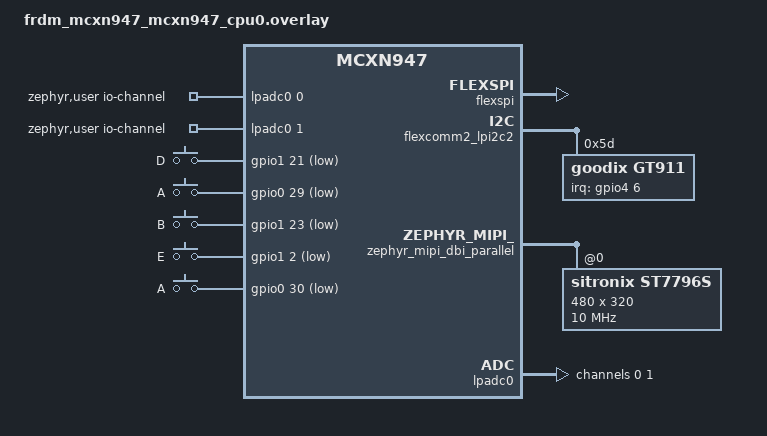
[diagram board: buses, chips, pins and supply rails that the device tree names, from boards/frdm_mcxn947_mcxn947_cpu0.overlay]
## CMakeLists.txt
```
# Copyright 2024 NXP
# SPDX-License-Identifier: gpl-2.0-only

cmake_minimum_required(VERSION 3.20.0)

find_package(Zephyr REQUIRED HINTS $ENV{ZEPHYR_BASE})
project(app LANGUAGES C)

set(PRBOOM_FILES
    prboom2/src/am_map.c
    prboom2/src/d_client.c
    prboom2/src/d_items.c
    prboom2/src/d_main.c
    prboom2/src/doom_iwad.c
    prboom2/src/f_finale.c
    prboom2/src/f_wipe.c
    prboom2/src/g_game.c
    prboom2/src/global_data.c
    prboom2/src/hu_lib.c
    prboom2/src/hu_stuff.c
    prboom2/src/i_audio.c
    prboom2/src/i_main.c
    prboom2/src/info.c
    prboom2/src/i_system.c
    prboom2/src/i_video.c
    prboom2/src/lprintf.c
    prboom2/src/m_bbox.c
    prboom2/src/m_cheat.c
    prboom2/src/m_menu.c
    prboom2/src/m_random.c
    prboom2/src/p_ceilng.c
    prboom2/src/p_doors.c
    prboom2/src/p_enemy.c
    prboom2/src/p_floor.c
    prboom2/src/p_genlin.c
    prboom2/src/p_inter.c
    prboom2/src/p_lights.c
    prboom2/src/p_map.c
    prboom2/src/p_maputl.c
    prboom2/src/p_mobj.c
    prboom2/src/p_plats.c
    prboom2/src/p_pspr.c
    prboom2/src/p_setup.c
    prboom2/src/p_sight.c
    prboom2/src/p_spec.c
    prboom2/src/p_switch.c
    prboom2/src/p_telept.c
    prboom2/src/p_tick.c
    prboom2/src/p_user.c
    prboom2/src/r_data.c
    prboom2/src/r_draw.c
    prboom2/src/r_hotpath.iwram.c
    prboom2/src/r_main.c
    prboom2/src/r_patch.c
    prboom2/src/r_plane.c
    prboom2/src/r_things.c
    prboom2/src/sounds.c
    prboom2/src/s_sound.c
    prboom2/src/st_gfx.c
    prboom2/src/st_lib.c
    prboom2/src/st_stuff.c
    prboom2/src/tables.c
    prboom2/src/version.c
    prboom2/src/v_video.c
    prboom2/src/wi_stuff.c
    prboom2/src/w_wad.c
    prboom2/src/z_bmalloc.c
    prboom2/src/z_zone.c
)

if(CONFIG_DOOM_FIXED_RECIPROCAL_LUT)
list(APPEND PRBOOM_FILES prboom2/src/m_recip.c)
endif()


if(CONFIG_DOOM_SHOW_NXP_LOGO)
list(APPEND PRBOOM_FILES src/nxp_80x32.c)
endif()

target_include_directories(app PUBLIC prboom2/src)
target_include_directories(app PUBLIC src)

target_sources(app PRIVATE ${PRBOOM_FILES} src/i_system_zephyr.c)
```

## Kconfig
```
# Copyright 2024 NXP
# SPDX-License-Identifier: gpl-2.0-only

mainmenu "Doom"

menu "Zephyr"

source "Kconfig.zephyr"

endmenu

menu "Doom"

config DOOM_X_RES
	int "Doom X resolution"
	default 320

config DOOM_Y_RES
	int "Doom Y resolution"
	default 240

config DOOM_ZONE_HEAP_SIZE
    int "Heap size (kB)"
	default 256

config DOOM_FIXED_RECIPROCAL_LUT
	bool "Use LUT for FixedReciprocal"
	default y
	help
	  On microarchitectures without a hardware divider such as Cortex-m0
	  calculating the reciprocal is compute intensive. This method uses
	  a lookup table (256kB) to approximate it.

config DOOM_CALC_TAN_TABLE
	bool "Calculate finetangent at startup"
	default n
	help
	  Instead of storing the LUT in flash we calculate the tan table at startup
	  This saves a bit of flash at the cost of ram and startup time

config DOOM_CALC_SIN_TABLE
	bool "Calculate finesine at startup"
	default n
	help
	  Instead of storing the LUT in flash we calculate the sine table at startup
	  This saves a bit of flash at the cost of ram and startup time

config DOOM_CALC_YSLOPE
	bool "Calculate yslope at startup"
	default y
	help
	  Instead of storing the LUT in flash we calculate the sine table at startup
	  This saves a bit of flash at the cost of ram and startup time.
	  Yslope needs to be manually generated for each resolution.

config DOOM_CALC_DISTSCALE
	bool "Calculate distcale at startup"
	default y
	help
	  Instead of storing the LUT in flash we calculate the sine table at startup
	  This saves a bit of flash at the cost of ram and startup time.
	  Distcale needs to be manually generated for each resolution.

config DOOM_CALC_XTOVIEWANGLE
	bool "Calculate xtoviewangle at startup"
	default y
	help
	  Instead of storing the LUT in flash we calculate the sine table at startup
	  This saves a bit of flash at the cost of ram and startup time.
	  Xtoviewangle needs to be manually generated for each resolution.

config DOOM_CALC_VIEWANGLETOX
	bool "Calculate viewangletox at startup"
	default y
	help
	  Instead of storing the LUT in flash we calculate the sine table at startup
	  This saves a bit of flash at the cost of ram and startup time.
	  Viewangletox needs to be manually generated for each resolution.


config DOOM_NO_WIPE
	bool "Disable Screen wipe"
	default n
	help
	  Disables screen wipe effect saves on ram since we don't have to allocate the
	  frontbuffer anymore

config DOOM_PRINT_MEMSTAT
	bool "Print memory statistics to console"
	default n

choice DOOM_PIXEL_FORMAT
	prompt "Color pixel format"
	default DOOM_BGR565
	help
	  Specify the color pixel format for the DOOM output frame.

config DOOM_RGB888
	bool "RGB888"

config DOOM_RGB565
	bool "RGB565"

config DOOM_BGR565
	bool "BGR565"
endchoice

config DOOM_HIGHDETAIL
	bool "High detail mode"
	default n

config DOOM_FPS_AMMO
	bool "Use ammo counter as FPS counter"
	default n

config DOOM_ZEPHYR_BACKGROUND
	bool "Show Zephyr logo when hud extends 240 pixels"
	default n

config DOOM_SHOW_NXP_LOGO
	bool "On startup clear framebuffer with NXP logo pattern"
	default n

config DOOM_ZEPHYR_ADC_JOYSTICK
	bool "Use ADC for joystick input"
	select ADC
	default n

config DOOM_ZEPHYR_TOUCH_SCREEN
	bool "Use Touch screen for input"
	default n

if DOOM_ZEPHYR_TOUCH_SCREEN

# Touchscreen can use different coordinate systems
# Ideally this should be corrected in the touchscreen driver or input subsys

config DOOM_ZEPHYR_TOUCH_SCREEN_SWAP_XY
	bool "Touchscreen swap x/y coordinates"
	default n

config DOOM_ZEPHYR_TOUCH_SCREEN_INVERT_X
	bool "Touchscreen invert X coordinates"
	default n
endif
	  
config DOOM_FB_DTCM
	bool "Place Framebuffer in DTCM memory"
	depends on ARM


endmenu
```

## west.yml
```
# Copyright 2024 NXP
# SPDX-License-Identifier: gpl-2.0-only

manifest:

  group-filter:
    - +optional

  self:
    west-commands: scripts/west-commands.yml

  remotes:
    - name: zephyrproject-rtos
      url-base: https://github.com/zephyrproject-rtos

  projects:
    - name: zephyr
      remote: zephyrproject-rtos
      revision: 7823374e872145b5bd018bfe447839eb36042611 # zephyr v4.1.0
      import:
        - name-allowlist:
          - hal_nxp
          - cmsis
          - segger
```

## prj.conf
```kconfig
# Copyright 2024 NXP
# SPDX-License-Identifier: gpl-2.0-only

CONFIG_HEAP_MEM_POOL_SIZE=262144
CONFIG_DISPLAY=y
CONFIG_INPUT=y
CONFIG_GPIO=y
CONFIG_STDOUT_CONSOLE=y
CONFIG_SPEED_OPTIMIZATIONS=y
CONFIG_BUILD_OUTPUT_BIN=n
CONFIG_BUILD_NO_GAP_FILL=y
```

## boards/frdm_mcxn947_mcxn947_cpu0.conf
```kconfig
# Copyright 2024 NXP
# SPDX-License-Identifier: gpl-2.0-only

CONFIG_POSIX_API=y
CONFIG_PICOLIBC=y
CONFIG_COMMON_LIBC_MALLOC=y

CONFIG_HEAP_MEM_POOL_SIZE=1024
CONFIG_MAIN_STACK_SIZE=8192
CONFIG_DOOM_FIXED_RECIPROCAL_LUT=n
CONFIG_DOOM_ZONE_HEAP_SIZE=194
CONFIG_DOOM_NO_WIPE=y

CONFIG_DOOM_X_RES=400
CONFIG_DOOM_Y_RES=320
CONFIG_DEBUG_OPTIMIZATIONS=y
CONFIG_DOOM_BGR565=y

CONFIG_DOOM_ZEPHYR_ADC_JOYSTICK=y
CONFIG_DOOM_ZEPHYR_TOUCH_SCREEN=y
CONFIG_DOOM_ZEPHYR_BACKGROUND=y
CONFIG_DOOM_SHOW_NXP_LOGO=y

CONFIG_FLASH=y

CONFIG_DISPLAY=y

CONFIG_FPU=y

CONFIG_BUILD_OUTPUT_HEX=y

CONFIG_HAVE_CUSTOM_LINKER_SCRIPT=y
CONFIG_CUSTOM_LINKER_SCRIPT="boards/frdm_mcxn947.ld"
```

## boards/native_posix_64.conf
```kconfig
# Copyright 2024 NXP
# SPDX-License-Identifier: gpl-2.0-only

CONFIG_DOOM_X_RES=640
CONFIG_DOOM_Y_RES=360
CONFIG_DOOM_ZONE_HEAP_SIZE=4096
# CONFIG_DOOM_FIXED_RECIPROCAL_LUT is not set
CONFIG_DOOM_CALC_TAN_TABLE=y
CONFIG_DOOM_CALC_SIN_TABLE=y
# CONFIG_DOOM_NO_WIPE is not set
CONFIG_LOG=y
CONFIG_DOOM_PRINT_MEMSTAT=y
# CONFIG_DOOM_RGB888 is not set
CONFIG_DOOM_RGB565=y
# CONFIG_DOOM_BGR565 is not set
# CONFIG_DOOM_HIGHDETAIL is not set
# CONFIG_DOOM_FPS_AMMO is not set
CONFIG_DOOM_ZEPHYR_BACKGROUND=y
# CONFIG_DOOM_ZEPHYR_ADC_JOYSTICK is not set
CONFIG_DOOM_ZEPHYR_TOUCH_SCREEN=y
CONFIG_DOOM_ZEPHYR_TOUCH_SCREEN_SWAP_XY=y
CONFIG_DOOM_ZEPHYR_TOUCH_SCREEN_INVERT_X=y
CONFIG_SDL_DISPLAY_USE_HARDWARE_ACCELERATOR=n
CONFIG_SDL_DISPLAY_ZOOM_PCT=200
```

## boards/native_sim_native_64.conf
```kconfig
# Copyright 2024 NXP
# SPDX-License-Identifier: gpl-2.0-only

CONFIG_DOOM_X_RES=640
CONFIG_DOOM_Y_RES=360
CONFIG_DOOM_ZONE_HEAP_SIZE=4096
# CONFIG_DOOM_FIXED_RECIPROCAL_LUT is not set
CONFIG_DOOM_CALC_TAN_TABLE=y
CONFIG_DOOM_CALC_SIN_TABLE=y
# CONFIG_DOOM_NO_WIPE is not set
CONFIG_LOG=y
CONFIG_DOOM_PRINT_MEMSTAT=y
# CONFIG_DOOM_RGB888 is not set
CONFIG_DOOM_RGB565=y
# CONFIG_DOOM_BGR565 is not set
# CONFIG_DOOM_HIGHDETAIL is not set
# CONFIG_DOOM_FPS_AMMO is not set
CONFIG_DOOM_ZEPHYR_BACKGROUND=y
# CONFIG_DOOM_ZEPHYR_ADC_JOYSTICK is not set
CONFIG_DOOM_ZEPHYR_TOUCH_SCREEN=y
CONFIG_DOOM_ZEPHYR_TOUCH_SCREEN_SWAP_XY=y
CONFIG_DOOM_ZEPHYR_TOUCH_SCREEN_INVERT_X=y
CONFIG_SDL_DISPLAY_USE_HARDWARE_ACCELERATOR=n
CONFIG_SDL_DISPLAY_ZOOM_PCT=200
CONFIG_DEBUG_OPTIMIZATIONS=y
```

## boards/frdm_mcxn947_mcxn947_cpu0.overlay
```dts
/*
 * Copyright 2024 NXP
 *
 * SPDX-License-Identifier: gpl-2.0-only
 */
 
#include <nxp/mcx/MCXN947VDF-pinctrl.h>
#include <dt-bindings/gpio/gpio.h>
#include <zephyr/dt-bindings/input/input-event-codes.h>
#include <zephyr/dt-bindings/adc/adc.h>
#include <zephyr/dt-bindings/adc/mcux-lpadc.h>
#include <zephyr/dt-bindings/mipi_dbi/mipi_dbi.h>
#include <zephyr/dt-bindings/regulator/nxp_vref.h>

/ {

	chosen {
		zephyr,display = &st7796s;
	};

	aliases {
		enter = &key_space;
		map = &key_map;
		menu = &key_menu;
		fire = &key_fire;
		toggle = &key_toggle;
		touch-screen = &gt911;
	};
	
	zephyr,user {
		/* adjust channel number according to pinmux in board.dts */
		io-channels = <&lpadc0 0>, <&lpadc0 1>;
	};
	/* gpio0 28 is joystick click */



	adc_joystick: analog_axis {
		compatible = "analog-axis";
        poll-period-ms = <15>;
		axis-x {
			io-channels = <&lpadc0 0>;
			in-deadzone = <256>;
			in-min = <0>;
			in-max = <4096>;
			out-min = <(-1)>;
			out-max = <1>;
			zephyr,axis = <INPUT_ABS_X>;
		};
		axis-y {
			io-channels = <&lpadc0 1>;
			in-deadzone = <256>;
			in-min = <0>;
			in-max = <4096>;
			out-min = <(-1)>;
			out-max = <1>;
			zephyr,axis = <INPUT_ABS_Y>;
		};
	};

	gpio_keys {
		compatible = "gpio-keys";

		key_fire: key_fire {
			label = "D";
			gpios = <&gpio1 21 (GPIO_PULL_UP | GPIO_ACTIVE_LOW)>; /* PTE0 */
			zephyr,code = <INPUT_KEY_TAB>;
		};
		
		key_menu: key_menu {
			label = "A";
			gpios = <&gpio0 29 (GPIO_PULL_UP | GPIO_ACTIVE_LOW)>; /* p0_29 */
			zephyr,code = <INPUT_KEY_TAB>;
		};

		
		key_toggle: key_toggle {
			label = "B";
			gpios = <&gpio1 23 (GPIO_PULL_UP | GPIO_ACTIVE_LOW)>; /* PTE22 */
			zephyr,code = <INPUT_KEY_LEFTALT>;
		};
		
		key_map: key_map {
			label = "E";
			gpios = <&gpio1 2 (GPIO_PULL_UP | GPIO_ACTIVE_LOW)>; /* 1_2 */
			zephyr,code = <INPUT_KEY_LEFTALT>;
		};
		
		key_space: key_space {
			label = "A";
			gpios = <&gpio0 30 (GPIO_PULL_UP | GPIO_ACTIVE_LOW)>; /* 1_21 -> C funduino */
			zephyr,code = <INPUT_KEY_SPACE>;
		};
	};

};

&flexspi {
	status = "okay";
};

&flexcomm2_lpi2c2 {
	status = "okay";
	gt911: gt911@5d {
		compatible = "goodix,gt911";
		reg = <0x5d>;
		alt-addr = <0x14>;
		irq-gpios = <&gpio4 6 GPIO_ACTIVE_HIGH>;
	};
};

&zephyr_mipi_dbi_parallel {
	status = "okay";
	#address-cells = <1>;
	#size-cells = <0>;
	st7796s: st7796s@0 {
		compatible = "sitronix,st7796s";
		reg = <0>;
		/* Baud rate on each pin is 1MHz */
		mipi-max-frequency = <10000000>;
		mipi-mode = "MIPI_DBI_MODE_8080_BUS_16_BIT";
		height = <320>;
		width = <480>;
		invert-mode = "1-dot";
		frmctl1 = [80 10];
		bpc = [1F 50 00 20];
		dfc = [8A 07 3B];
		pwr1 = [80 64];
		pwr2 = <0x13>;
		pwr3 = <0xA7>;
		vcmpctl = <0x09>;
		doca = [40 8A 00 00 29 19 A5 33];
		pgc = [F0 06 0B 07 06 05 2E 33 47 3A 17 16 2E 31];
		ngc = [F0 09 0D 09 08 23 2E 33 46 38 13 13 2C 32];
		madctl = <0x28>;
		color-invert;
	};
};

&sram0 {
 	compatible = "mmio-sram";
	reg = <0x20000000 DT_SIZE_K(416)>;
};

&vref {
	regulator-initial-mode = <NXP_VREF_MODE_INTERNAL_REGULATOR>;
};

&lpadc0 {
	#address-cells = <1>;
	#size-cells = <0>;

	voltage-ref= <2>;

	/*
	 * - Connect LPADC0 CH1A signal to voltage between 0~3.3V (J8 pin 14)
	 * - Connect LPADC0 CH1B signal to voltage between 0~3.3V (J8 pin 24)
	 */

	channel@0 {
		reg = <0>;
		zephyr,gain = "ADC_GAIN_1";
		zephyr,reference = "ADC_REF_EXTERNAL0";
		zephyr,vref-mv = <3300>;
		zephyr,acquisition-time = <ADC_ACQ_TIME_DEFAULT>;
		zephyr,resolution = <12>;
		zephyr,input-positive = <MCUX_LPADC_CH0A>;
	};

	channel@1 {
		reg = <1>;
		zephyr,gain = "ADC_GAIN_1";
		zephyr,reference = "ADC_REF_EXTERNAL0";
		zephyr,vref-mv = <3300>;
		zephyr,acquisition-time = <ADC_ACQ_TIME_DEFAULT>;
		zephyr,resolution = <12>;
		zephyr,input-positive = <MCUX_LPADC_CH0B>;
	};
};
```

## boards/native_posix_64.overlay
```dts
/*
 * Copyright 2024 NXP
 *
 * SPDX-License-Identifier: gpl-2.0-only
 */

 #include <zephyr/dt-bindings/input/input-event-codes.h>

 / {
	aliases {
		right = &key_right;
		left = &key_left;
		down = &key_down;
		up = &key_up;
		fire = &key_ctrl;
		enter = &key_space;
		strafe = &key_alt;
		run = &key_shift;
		menu = &key_esc;
		weapontoggle = &key_tab;
		touch-screen = &input_sdl_touch;
	};

  gpio_keys {
	compatible = "gpio-keys";
	key_right: key_right {
	  gpios = <&gpio0 0 GPIO_ACTIVE_HIGH>;
	  zephyr,code = <INPUT_KEY_RIGHT>;
	};
	key_left: key_left {
	  gpios = <&gpio0 1 GPIO_ACTIVE_HIGH>;
	  zephyr,code = <INPUT_KEY_LEFT>;
	};
	key_down: key_down {
	  gpios = <&gpio0 2 GPIO_ACTIVE_HIGH>;
	  zephyr,code = <INPUT_KEY_DOWN>;
	};
	key_up: key_up {
	  gpios = <&gpio0 3 GPIO_ACTIVE_HIGH>;
	  zephyr,code = <INPUT_KEY_UP>;
	};
	key_ctrl: key_ctrl {
	  gpios = <&gpio0 4 GPIO_ACTIVE_HIGH>;
	  zephyr,code = <INPUT_KEY_LEFTCTRL>;
	};
	key_space: key_space {
	  gpios = <&gpio0 5 GPIO_ACTIVE_HIGH>;
	  zephyr,code = <INPUT_KEY_SPACE>;
	};
	key_alt: key_alt {
	  gpios = <&gpio0 6 GPIO_ACTIVE_HIGH>;
	  zephyr,code = <INPUT_KEY_LEFTALT>;
	};
	key_shift: key_shift {
	  gpios = <&gpio0 7 GPIO_ACTIVE_HIGH>;
	  zephyr,code = <INPUT_KEY_LEFTSHIFT>;
	};
	key_esc: key_esc {
	  gpios = <&gpio0 8 GPIO_ACTIVE_HIGH>;
	  zephyr,code = <INPUT_KEY_ESC>;
	};
	key_tab: key_tab {
	  gpios = <&gpio0 9 GPIO_ACTIVE_HIGH>;
	  zephyr,code = <INPUT_KEY_TAB>;
	};
  };
  
  };

/* gpio0 has to be a zephyr,gpio-emul device */
&gpio0 {
	ngpios = <10>;

	sdl_gpio {
		compatible = "zephyr,gpio-emul-sdl";
		scancodes = <79 80 81 82 224 44 226 225 41 43>;
	};
};

&sdl_dc {
	width = <640>;
	height = <360>;
};
```

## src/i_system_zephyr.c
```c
/* Emacs style mode select   -*- C++ -*-
 *-----------------------------------------------------------------------------
 *
 *
 *  PrBoom: a Doom port merged with LxDoom and LSDLDoom
 *  based on BOOM, a modified and improved DOOM engine
 *  Copyright 2024 NXP
 *
 *  This program is free software; you can redistribute it and/or
 *  modify it under the terms of the GNU General Public License
 *  as published by the Free Software Foundation; either version 2
 *  of the License, or (at your option) any later version.
 *
 *  This program is distributed in the hope that it will be useful,
 *  but WITHOUT ANY WARRANTY; without even the implied warranty of
 *  MERCHANTABILITY or FITNESS FOR A PARTICULAR PURPOSE.  See the
 *  GNU General Public License for more details.
 *
 *  You should have received a copy of the GNU General Public License
 *  along with this program; if not, write to the Free Software
 *  Foundation, Inc., 59 Temple Place - Suite 330, Boston, MA
 *  02111-1307, USA.
 *
 *-----------------------------------------------------------------------------
 */

#include <math.h>
#include <stdarg.h>
#include <stdio.h>

#ifndef M_PI
#define M_PI 3.14159265358979323846
#endif

#include "d_event.h"
#include "d_main.h"
#include "g_game.h"
#include "i_system_zephyr.h"

#include "doomdef.h"
#include "lprintf.h"

#include <zephyr/logging/log.h>
LOG_MODULE_REGISTER(sample, LOG_LEVEL_INF);
#include <zephyr/device.h>
#include <zephyr/devicetree.h>
#include <zephyr/drivers/adc.h>
#include <zephyr/drivers/display.h>
#include <zephyr/drivers/gpio.h>
#include <zephyr/input/input.h>
#include <zephyr/kernel.h>

#ifdef CONFIG_DOOM_SHOW_NXP_LOGO
#include "nxp_80x32.h"
#endif

#define RIGHT_NODE DT_ALIAS(right)
#define LEFT_NODE DT_ALIAS(left)
#define DOWN_NODE DT_ALIAS(down)
#define UP_NODE DT_ALIAS(up)
#define FIRE_NODE DT_ALIAS(fire)
#define ENTER_NODE DT_ALIAS(enter)
#define MENU_NODE DT_ALIAS(menu)
#define WEAPONTOGGLE_NODE DT_ALIAS(weapontoggle)
#define STRAFE_NODE DT_ALIAS(strafe)
#define RUN_NODE DT_ALIAS(run)
#define MAP_NODE DT_ALIAS(map)
#define TOGGLE_NODE DT_ALIAS(toggle)

#define DISPLAY_NODE DT_CHOSEN(zephyr_display)

#define STACKSIZE 2000
struct k_thread display_thread;
K_THREAD_STACK_DEFINE(display_stack, STACKSIZE);
struct display_capabilities d_capabilities;
struct k_sem sem_display;
struct k_sem sem_renderer;

//**************************************************************************************

struct key_mapping {
  struct gpio_dt_spec node;
  const int *key;
  evtype_t eventstate;
};

struct key_mapping keymap[] = {
#ifndef CONFIG_DOOM_ZEPHYR_ADC_JOYSTICK
    {GPIO_DT_SPEC_GET_OR(UP_NODE, gpios, {0}), &key_up, ev_keyup},
    {GPIO_DT_SPEC_GET_OR(DOWN_NODE, gpios, {0}), &key_down, ev_keyup},
    {GPIO_DT_SPEC_GET_OR(LEFT_NODE, gpios, {0}), &key_left, ev_keyup},
    {GPIO_DT_SPEC_GET_OR(RIGHT_NODE, gpios, {0}), &key_right, ev_keyup},
#endif
    {GPIO_DT_SPEC_GET_OR(FIRE_NODE, gpios, {0}), &key_fire, ev_keyup},
    {GPIO_DT_SPEC_GET_OR(ENTER_NODE, gpios, {0}), &key_enter, ev_keyup},
    {GPIO_DT_SPEC_GET_OR(ENTER_NODE, gpios, {0}), &key_use, ev_keyup},
    {GPIO_DT_SPEC_GET_OR(MENU_NODE, gpios, {0}), &key_escape, ev_keyup},
    {GPIO_DT_SPEC_GET_OR(RUN_NODE, gpios, {0}), &key_speed, ev_keyup},
    {GPIO_DT_SPEC_GET_OR(MAP_NODE, gpios, {0}), &key_map, ev_keyup},
    {GPIO_DT_SPEC_GET_OR(TOGGLE_NODE, gpios, {0}), &key_toggle, ev_keyup},
};

#define KEYMAP_SIZE (sizeof(keymap) / sizeof(keymap[0]))

#ifdef CONFIG_DOOM_ZEPHYR_ADC_JOYSTICK
static const struct device *const adc_joy_dev =
    DEVICE_DT_GET(DT_NODELABEL(adc_joystick));
#endif
#ifdef CONFIG_DOOM_ZEPHYR_TOUCH_SCREEN
static const struct device *const touch_screen_dev =
    DEVICE_DT_GET(DT_ALIAS(touch_screen));
#endif

bool x_l_pressed = false;
bool x_r_pressed = false;
bool x_center = false;

bool y_u_pressed = false;
bool y_d_pressed = false;
bool y_center = false;
bool action_pressed = false;
bool action_fire = false;

// TOD IFDEF TOUCH
uint16_t touch_initial_x = 0;
uint16_t touch_initial_y = 0;

uint16_t touch_x = 0;
uint16_t touch_y = 0;
bool touch_btn = false;
bool touch_released = true;

unsigned int vid_width = 0;
unsigned int vid_height = 0;

FAST_DATA_RAM unsigned short
    backbuffer[(SCREENWIDTH * SCREENHEIGHT) + CONFIG_DOOM_X_RES];

#ifndef CONFIG_DOOM_NO_WIPE
FAST_DATA_RAM unsigned short frontbuffer[SCREENWIDTH * SCREENHEIGHT];
#endif

#if defined(CONFIG_DOOM_RGB565) || defined(CONFIG_DOOM_BGR565)
static uint16_t pl_565[256];
const byte *pl_game = (byte *)pl_565;
#else
const byte *pl_game;
#endif

const struct device *display_dev;

//**************************************************************************************

void I_uSleep(unsigned long usecs) { k_sleep(K_USEC(usecs)); }

//**************************************************************************************

void Z_DisplayThreadEntry(void) {
  struct display_buffer_descriptor buf_desc;

  buf_desc.buf_size = CONFIG_DOOM_X_RES * CONFIG_DOOM_Y_RES;
  buf_desc.pitch = CONFIG_DOOM_X_RES;
  buf_desc.width = CONFIG_DOOM_X_RES;
  buf_desc.height = 1;

  int i, j;

  uint16_t *framebuffer = (uint16_t *)&backbuffer[0];
  unsigned char *frame;

  while (1) {
    k_sem_take(&sem_renderer, K_FOREVER);
    frame = (char *)I_GetBackBuffer();
    int lineheight;
    int y_offset = 0;

    /* Re-use Backbuffer while converting indexed color (8-bit) to 565 (16-bit)
     */
    for (i = 1; y_offset < CONFIG_DOOM_Y_RES; i++) {
      lineheight = i + (1 << (i - 1));

      if (lineheight + y_offset >= CONFIG_DOOM_Y_RES) {
        lineheight = CONFIG_DOOM_Y_RES - y_offset;
      }

      for (j = 0; j < CONFIG_DOOM_X_RES * lineheight; j++) {
        framebuffer[j] = pl_565[frame[j]];
      }

      frame += CONFIG_DOOM_X_RES * lineheight;
      buf_desc.height = lineheight;

      display_write(display_dev, 0, y_offset, &buf_desc, framebuffer);

      y_offset += lineheight;
    }
    k_sem_give(&sem_display);
  }
}

//**************************************************************************************

void I_InitScreen_zephyr() {
  printf("I_CreateWindow_e32\n");

  display_dev = DEVICE_DT_GET(DT_CHOSEN(zephyr_display));
  if (!device_is_ready(display_dev)) {
    LOG_ERR("Device %s not found. Aborting sample.", display_dev->name);
    return;
  }

  LOG_INF("Display sample for %s", display_dev->name);
  display_get_capabilities(display_dev, &d_capabilities);
  LOG_INF("Display %ix%i", d_capabilities.x_resolution,
          d_capabilities.y_resolution);

#ifdef CONFIG_DOOM_RGB888
  display_set_pixel_format(display_dev, PIXEL_FORMAT_RGB_888); // TODO
#elif defined(CONFIG_DOOM_RGB565)
  display_set_pixel_format(display_dev, PIXEL_FORMAT_RGB_565);
#elif defined(CONFIG_DOOM_BGR565)
  display_set_pixel_format(display_dev, PIXEL_FORMAT_BGR_565);
#endif
  display_blanking_off(display_dev);

#ifdef CONFIG_DOOM_SHOW_NXP_LOGO
  struct display_buffer_descriptor buf_desc;

  buf_desc.buf_size = 80 * 320 * 2;
  buf_desc.pitch = 80;
  buf_desc.width = 80;
  buf_desc.height = 320;
  for (int i = 0; i < 6; i++) {
    display_write(display_dev, 80 * i, 0, &buf_desc, nxp_80_320);
  }

#endif

  k_sem_init(&sem_display, 0, K_SEM_MAX_LIMIT);
  k_sem_init(&sem_renderer, 0, K_SEM_MAX_LIMIT);

  /* Start display thread*/
  k_thread_create(&display_thread, display_stack, STACKSIZE,
                  (k_thread_entry_t)Z_DisplayThreadEntry, NULL, NULL, NULL,
                  K_PRIO_COOP(7), 0, K_NO_WAIT);

  vid_width = SCREENWIDTH;
  vid_height = SCREENHEIGHT;

  for (int i = 0; i < KEYMAP_SIZE; i++) {
    if (keymap[i].node.port == 0) {
      printk("Error: key %ls is not configured\n", keymap[i].key);
    } else {
      gpio_pin_configure_dt(&keymap[i].node, GPIO_INPUT);
    }
  }
}

//**************************************************************************************

void I_BlitScreenBmp_e32() {}

//**************************************************************************************

void I_StartWServEvents_e32() {}

//**************************************************************************************

#define ADC_CENTER 2000
#define ADC_THRESH 600
#define ADC_RELEASE_TRESH 400

void I_PollWServEvents_e32() {
  event_t event = {0};

  if (x_center) {
    event.type = ev_keyup;
    event.data1 = key_left;
    D_PostEvent(&event);
    event.type = ev_keyup;
    event.data1 = key_right;
    D_PostEvent(&event);
  } else if (x_l_pressed) {
    event.type = ev_keydown;
    event.data1 = key_left;
    D_PostEvent(&event);
  } else if (x_r_pressed) {
    event.type = ev_keydown;
    event.data1 = key_right;
    D_PostEvent(&event);
  }

  x_l_pressed = false;
  x_r_pressed = false;
  x_center = false;

  if (y_center) {
    event.type = ev_keyup;
    event.data1 = key_up;
    D_PostEvent(&event);
    event.type = ev_keyup;
    event.data1 = key_down;
    D_PostEvent(&event);
  } else if (y_u_pressed) {
    event.type = ev_keydown;
    event.data1 = key_up;
    D_PostEvent(&event);
  } else if (y_d_pressed) {
    event.type = ev_keydown;
    event.data1 = key_down;
    D_PostEvent(&event);
  }

  y_u_pressed = false;
  y_d_pressed = false;
  y_center = false;

  if (action_pressed && action_fire) {
    event.type = ev_keydown;
    event.data1 = key_fire;
    D_PostEvent(&event);
    action_pressed = false;
  } else if (action_pressed && !action_fire) {
    event.type = ev_keydown;
    event.data1 = key_enter;
    D_PostEvent(&event);
    action_pressed = false;
  } else {
    event.type = ev_keyup;
    event.data1 = key_fire;
    D_PostEvent(&event);
    event.type = ev_keyup;
    event.data1 = key_enter;
    D_PostEvent(&event);
  }

  for (int i = 0; i < KEYMAP_SIZE; i++) {
    if (keymap[i].node.port != 0) {
      if (gpio_pin_get_dt(&keymap[i].node) > 0 &&
          keymap[i].eventstate == ev_keyup) {
        keymap[i].eventstate = ev_keydown;
        event.type = ev_keydown;
        event.data1 = *keymap[i].key;
        D_PostEvent(&event);
      } else if (gpio_pin_get_dt(&keymap[i].node) == 0 &&
                 keymap[i].eventstate == ev_keydown) {
        keymap[i].eventstate = ev_keyup;
        event.type = ev_keyup;
        event.data1 = *keymap[i].key;
        D_PostEvent(&event);
      }
    }
  }
}

#ifdef CONFIG_DOOM_ZEPHYR_ADC_JOYSTICK
static void input_adc_joy_cb(struct input_event *evt, void *user_data) {

  if (evt->type == INPUT_EV_ABS && evt->code == INPUT_ABS_X) {
    if (evt->value == -1) {
      x_l_pressed = true;
    } else if (evt->value == 0) {
      x_center = true;
    } else if (evt->value == 1) {
      x_r_pressed = true;
    }
  }

  if (evt->type == INPUT_EV_ABS && evt->code == INPUT_ABS_Y) {
    if (evt->value == -1) {
      y_d_pressed = true;
    } else if (evt->value == 0) {
      y_center = true;
    } else if (evt->value == 1) {
      y_u_pressed = true;
    }
  }
}

INPUT_CALLBACK_DEFINE(adc_joy_dev, input_adc_joy_cb, NULL);
#endif

#ifdef CONFIG_DOOM_ZEPHYR_TOUCH_SCREEN
static void input_touch_cb(struct input_event *evt, void *user_data) {

#ifdef CONFIG_DOOM_ZEPHYR_TOUCH_SCREEN_SWAP_XY
  if (evt->type == INPUT_EV_ABS && evt->code == INPUT_ABS_X) {
    touch_y = evt->value;
  }

#ifdef CONFIG_DOOM_ZEPHYR_TOUCH_SCREEN_INVERT_X
  if (evt->type == INPUT_EV_ABS && evt->code == INPUT_ABS_Y) {
    touch_x = d_capabilities.x_resolution - evt->value;
  }
#else
  if (evt->type == INPUT_EV_ABS && evt->code == INPUT_ABS_Y) {
    touch_x = evt->value;
  }
#endif
#else
  if (evt->type == INPUT_EV_ABS && evt->code == INPUT_ABS_X) {
    touch_x = evt->value;
  }

  if (evt->type == INPUT_EV_ABS && evt->code == INPUT_ABS_Y) {
    touch_y = evt->value;
  }
#endif
  if (evt->type == INPUT_EV_KEY && evt->code == INPUT_BTN_TOUCH) {
    touch_btn = evt->value;
  }

  if (evt->sync) {

    if (!touch_btn) {
      touch_released = true;

      x_center = true;
      y_center = true;
      // STOP MOVING
    } else if (touch_y >= CONFIG_DOOM_X_RES) {
      x_center = true;
      y_center = true;

      if (touch_btn && touch_released) {
        action_pressed = true;
        action_fire = touch_x < (CONFIG_DOOM_Y_RES / 2);
      }
    } else if (touch_btn && touch_released) {
      touch_initial_x = touch_x;
      touch_initial_y = touch_y;
      touch_released = false;
      x_center = true;
      y_center = true;
    } else {

      if (touch_btn) {
        // CALC distance
        double distance = sqrt(pow(touch_x - touch_initial_x, 2) +
                               pow(touch_y - touch_initial_y, 2));

        double angle =
            atan2(touch_initial_y - touch_y, touch_initial_x - touch_x);

        angle = (angle) * (180.0 / M_PI);
        if (distance > 20) {

          if ((angle >= -22.5 && angle <= 22.5)) {
            // Down
            x_center = true;
            y_u_pressed = false;
            y_d_pressed = true;
          } else if (angle > 22.5 && angle <= 67.5) {
            // Left-down
            x_l_pressed = true;
            x_r_pressed = false;
            y_u_pressed = false;
            y_d_pressed = true;
          } else if (angle > 67.5 && angle <= 112.5) {
            // Left
            x_l_pressed = true;
            x_r_pressed = false;
            y_center = true;
          } else if (angle > 112.5 && angle <= 157.5) {
            // Left-Up
            x_l_pressed = true;
            x_r_pressed = false;
            y_u_pressed = true;
            y_d_pressed = false;
          } else if ((angle > 157.5 && angle <= 180) ||
                     (angle >= -180 && angle <= -157.5)) {
            // Up
            x_center = true;
            y_u_pressed = true;
            y_d_pressed = false;
          } else if (angle > -157.5 && angle <= -112.5) {
            // Right-up
            x_l_pressed = false;
            x_r_pressed = true;
            y_u_pressed = true;
            y_d_pressed = false;
          } else if (angle > -112.5 && angle <= -67.5) {
            // Right
            x_l_pressed = false;
            x_r_pressed = true;
            y_center = true;
          } else if (angle > -67.5 && angle <= -22.5) {
            // Right-down
            x_l_pressed = false;
            x_r_pressed = true;
            y_u_pressed = false;
            y_d_pressed = true;
          } else {
            x_center = true;
            y_center = true;
          }

        } else {

          x_center = true;
          y_center = true;
        }
      }
    }
  }
}

INPUT_CALLBACK_DEFINE(touch_screen_dev, input_touch_cb, NULL);
#endif

//**************************************************************************************

void I_ClearWindow_e32() {}

unsigned short *I_GetBackBuffer() {
  return &backbuffer[CONFIG_DOOM_X_RES]; // Offset by SCREENWIDTH for color
                                         // conversion space
}

unsigned short *I_GetFrontBuffer() {
#ifndef CONFIG_DOOM_NO_WIPE
  return &frontbuffer[0];
#else
  return NULL;
#endif
}

//**************************************************************************************

void I_CreateWindow_e32() {
  // display_blanking_off(display_dev);
}

//**************************************************************************************

void I_CreateBackBuffer_zephyr() { I_CreateWindow_e32(); }

//**************************************************************************************

void I_FinishUpdate_zephyr(const byte *srcBuffer, const byte *pallete,
                        const unsigned int width, const unsigned int height) {

  k_sem_give(&sem_renderer);

  /* Wait for coop thread to let us have a turn */
  k_sem_take(&sem_display, K_FOREVER);
}

//**************************************************************************************

void I_SetPallete_zephyr(const byte *pallete) {
#if defined(CONFIG_DOOM_RGB565)
  for (int i = 0; i < 256; i++) {
    int r = *pallete++;
    int g = *pallete++;
    int b = *pallete++;
    int nr = r >> 3, ng = g >> 2, nb = b >> 3;
    pl_565[i] = (uint16_t)((nr << 11) | (ng << 5) | nb);
    pl_565[i] = doom_swap_s(pl_565[i]);
  }
#elif defined(CONFIG_DOOM_BGR565)
  for (int i = 0; i < 256; i++) {
    int r = *pallete++;
    int g = *pallete++;
    int b = *pallete++;
    int nr = r >> 3, ng = g >> 2, nb = b >> 3;
    pl_565[i] = (uint16_t)((nr << 11) | (ng << 5) | nb);
  }
#else
  pl_game = pallete;
#endif
}

//**************************************************************************************

int I_GetVideoWidth_zephyr() { return vid_width; }

//**************************************************************************************

int I_GetVideoHeight_zephyr() { return vid_height; }

//**************************************************************************************

void I_ProcessKeyEvents() { I_PollWServEvents_e32(); }

//**************************************************************************************

#define MAX_MESSAGE_SIZE 512

void I_Error(const char *error, ...) {
  char msg[MAX_MESSAGE_SIZE];

  va_list v;
  va_start(v, error);

  vsprintf(msg, error, v);

  va_end(v);

  printf("%s\n", msg);

  fflush(stderr);
  fflush(stdout);

  I_Quit_zephyr();
}

//**************************************************************************************

void I_Quit_zephyr() {}

//**************************************************************************************
```

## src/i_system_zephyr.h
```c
/* Emacs style mode select   -*- C++ -*-
 *-----------------------------------------------------------------------------
 *
 *
 *  PrBoom: a Doom port merged with LxDoom and LSDLDoom
 *  based on BOOM, a modified and improved DOOM engine
 *  Copyright 2024 NXP
 *
 *  This program is free software; you can redistribute it and/or
 *  modify it under the terms of the GNU General Public License
 *  as published by the Free Software Foundation; either version 2
 *  of the License, or (at your option) any later version.
 *
 *  This program is distributed in the hope that it will be useful,
 *  but WITHOUT ANY WARRANTY; without even the implied warranty of
 *  MERCHANTABILITY or FITNESS FOR A PARTICULAR PURPOSE.  See the
 *  GNU General Public License for more details.
 *
 *  You should have received a copy of the GNU General Public License
 *  along with this program; if not, write to the Free Software
 *  Foundation, Inc., 59 Temple Place - Suite 330, Boston, MA
 *  02111-1307, USA.
 *
 *-----------------------------------------------------------------------------
 */

#ifndef HEADER_I_SYSTEM_ZEPHYR
#define HEADER_I_SYSTEM_ZEPHYR

#ifdef __cplusplus
extern "C" {
#endif

typedef unsigned char byte;

void I_InitScreen_zephyr();

void I_CreateBackBuffer_zephyr();

int I_GetVideoWidth_zephyr();

int I_GetVideoHeight_zephyr();

void I_FinishUpdate_zephyr(const byte* srcBuffer, const byte* pallete, const unsigned int width, const unsigned int height);

void I_SetPallete_zephyr(const byte* pallete);

void I_ProcessKeyEvents();

int I_GetTime_zephyr(void);

void I_Error (const char *error, ...);

void I_Quit_zephyr();

unsigned short* I_GetBackBuffer();

unsigned short* I_GetFrontBuffer();

#ifdef __cplusplus
}
#endif


#endif
```

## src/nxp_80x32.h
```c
/* Emacs style mode select   -*- C++ -*-
 *-----------------------------------------------------------------------------
 *
 *
 *  PrBoom: a Doom port merged with LxDoom and LSDLDoom
 *  based on BOOM, a modified and improved DOOM engine
 *  Copyright 2024 NXP
 *
 *  This program is free software; you can redistribute it and/or
 *  modify it under the terms of the GNU General Public License
 *  as published by the Free Software Foundation; either version 2
 *  of the License, or (at your option) any later version.
 *
 *  This program is distributed in the hope that it will be useful,
 *  but WITHOUT ANY WARRANTY; without even the implied warranty of
 *  MERCHANTABILITY or FITNESS FOR A PARTICULAR PURPOSE.  See the
 *  GNU General Public License for more details.
 *
 *  You should have received a copy of the GNU General Public License
 *  along with this program; if not, write to the Free Software
 *  Foundation, Inc., 59 Temple Place - Suite 330, Boston, MA
 *  02111-1307, USA.
 *
 *-----------------------------------------------------------------------------
 */

#include <inttypes.h>

#ifndef __NXP_80_320_H__
#define __NXP_80_320_H__
 
extern const uint8_t nxp_80_320[];

#endif
```
